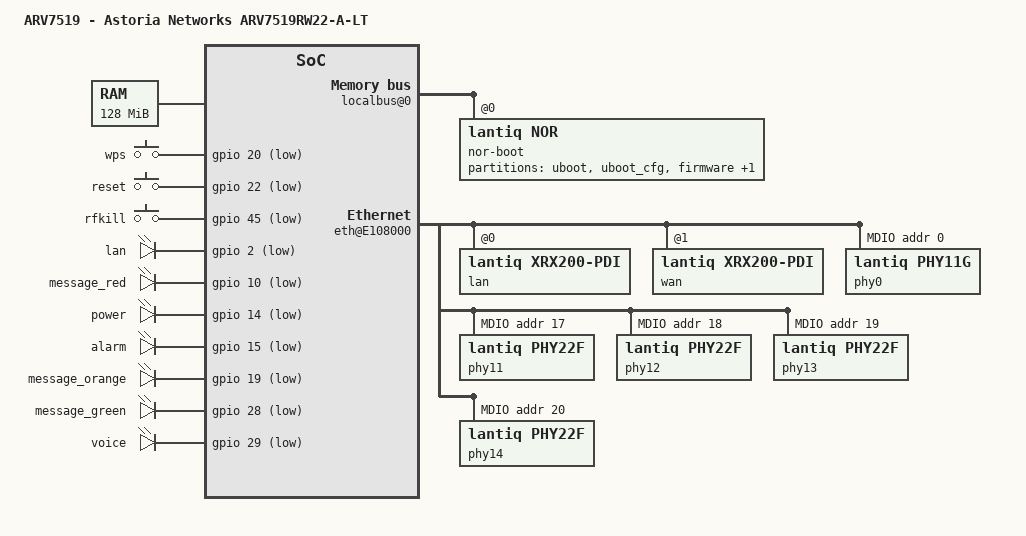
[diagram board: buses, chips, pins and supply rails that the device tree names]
/include/ "vr9.dtsi"

/ {
	model = "ARV7519 - Astoria Networks ARV7519RW22-A-LT";

	chosen {
		bootargs = "console=ttyLTQ0,115200 init=/etc/preinit";
	};

	memory@0 {
		reg = <0x0 0x8000000>;
	};

	fpi@10000000 {
		localbus@0 {
			nor-boot@0 {
				compatible = "lantiq,nor";
				bank-width = <2>;
				reg = <0 0x0 0x2000000>, <1 0x2000000 0x2000000>;
				#address-cells = <1>;
				#size-cells = <1>;

				partition@0 {
					label = "uboot";
					reg = <0x0 0x60000>;
					read-only;
				};

				partition@60000 {
					label = "uboot_cfg";
					reg = <0x60000 0x20000>;
					read-only;
				};

				partition@80000 {
					label = "firmware";
					reg = <0x80000 0x1f00000>;
				};

				partition@1f80000 {
					label = "boardconfig";
					reg = <0x1f80000 0x80000>;
					read-only;
				};
			};
		};

		gpio: pinmux@E100B10 {
			pinctrl-names = "default";
			pinctrl-0 = <&state_default>;

			state_default: pinmux {
				mdio {
					lantiq,groups = "mdio";
					lantiq,function = "mdio";
				};
				gphy-leds {
					lantiq,groups = "gphy0 led1", "gphy1 led1";
					lantiq,function = "gphy";
					lantiq,pull = <2>;
					lantiq,open-drain = <0>;
					lantiq,output = <1>;
				};
				phy-rst {
					lantiq,pins = "io42";
					lantiq,pull = <0>;
					lantiq,open-drain = <0>;
					lantiq,output = <1>;
				};
				pcie-rst {
					lantiq,pins = "io21";
					lantiq,pull = <0>;
					lantiq,output = <1>;
				};
			};
		};

		eth@E108000 {
			#address-cells = <1>;
			#size-cells = <0>;
			compatible = "lantiq,xrx200-net";
			reg = <	0xE108000 0x3000 /* switch */
				0xE10B100 0x70 /* mdio */
				0xE10B1D8 0x30 /* mii */
				0xE10B308 0x30 /* pmac */
			>;
			interrupt-parent = <&icu0>;
			interrupts = <73 72>;

			lan: interface@0 {
				compatible = "lantiq,xrx200-pdi";
				#address-cells = <1>;
				#size-cells = <0>;
				reg = <0>;
				mac-address = [ 00 11 22 33 44 55 ];

				ethernet@1 {
					compatible = "lantiq,xrx200-pdi-port";
					reg = <4>;
					phy-mode = "mii";
					phy-handle = <&phy13>;
				};
				ethernet@2 {
					compatible = "lantiq,xrx200-pdi-port";
					reg = <5>;
					phy-mode = "mii";
					phy-handle = <&phy14>;
				};
				ethernet@3 {
					compatible = "lantiq,xrx200-pdi-port";
					reg = <2>;
					phy-mode = "mii";
					phy-handle = <&phy11>;
				};
				ethernet@4 {
					compatible = "lantiq,xrx200-pdi-port";
					reg = <3>;
					phy-mode = "mii";
					phy-handle = <&phy12>;
				};
			};

			wan: interface@1 {
				compatible = "lantiq,xrx200-pdi";
				#address-cells = <1>;
				#size-cells = <0>;
				reg = <1>;
				mac-address = [ 00 11 22 33 44 56 ];
				lantiq,wan;
				ethernet@0 {
					compatible = "lantiq,xrx200-pdi-port";
					reg = <0>;
					phy-mode = "rgmii";
					phy-handle = <&phy0>;
				};
			};

			mdio@0 {
				#address-cells = <1>;
				#size-cells = <0>;
				compatible = "lantiq,xrx200-mdio";
				phy0: ethernet-phy@0 {
					reg = <0x0>;
					compatible = "lantiq,phy11g", "ethernet-phy-ieee802.3-c22";
				};
				phy11: ethernet-phy@11 {
					reg = <0x11>;
					compatible = "lantiq,phy22f", "ethernet-phy-ieee802.3-c22";
				};
				phy12: ethernet-phy@12 {
					reg = <0x12>;
					compatible = "lantiq,phy22f", "ethernet-phy-ieee802.3-c22";
				};
				phy13: ethernet-phy@13 {
					reg = <0x13>;
					compatible = "lantiq,phy22f", "ethernet-phy-ieee802.3-c22";
				};
				phy14: ethernet-phy@14 {
					reg = <0x14>;
					compatible = "lantiq,phy22f", "ethernet-phy-ieee802.3-c22";
				};
			};
		};

		ifxhcd@E101000 {
			status = "okay";
			gpios = <&gpio 32 0>;
			lantiq,portmask = <0x3>;
		};

		pcie@d900000 {
			status = "disabled";
			compatible = "lantiq,pcie-xway";
		};

		pci@E105400 {
			status = "disabled";
			compatible = "lantiq,pci-xway";
		};
	};

	gpio-keys-polled {
		compatible = "gpio-keys-polled";
		#address-cells = <1>;
		#size-cells = <0>;
		poll-interval = <100>;

		wps {
			label = "wps";
			gpios = <&gpio 20 1>;
			linux,code = <0x211>;
		};
		reset {
			label = "reset";
			gpios = <&gpio 22 1>;
			linux,code = <0x198>;
		};
		rfkill {
			label = "rfkill";
			gpios = <&gpio 45 1>;
			linux,code = <0xf7>;
		};
	};

	gpio-leds {
		compatible = "gpio-leds";

		lan_green {
			label = "lan";
			gpios = <&gpio 2 1>;
		};
		message_red {
			label = "message_red";
			gpios = <&gpio 10 1>;
		};
		power_red {
			label = "power";
			gpios = <&gpio 14 1>;
			default-state = "on";
		};
		alarm_blue {
			label = "alarm";
			gpios = <&gpio 15 1>;
		};
		message_orange {
			label = "message_orange";
			gpios = <&gpio 19 1>;
		};
		message_green {
			label = "message_green";
			gpios = <&gpio 28 1>;
		};
		voice_green {
			label = "voice";
			gpios = <&gpio 29 1>;
		};
	};
};
